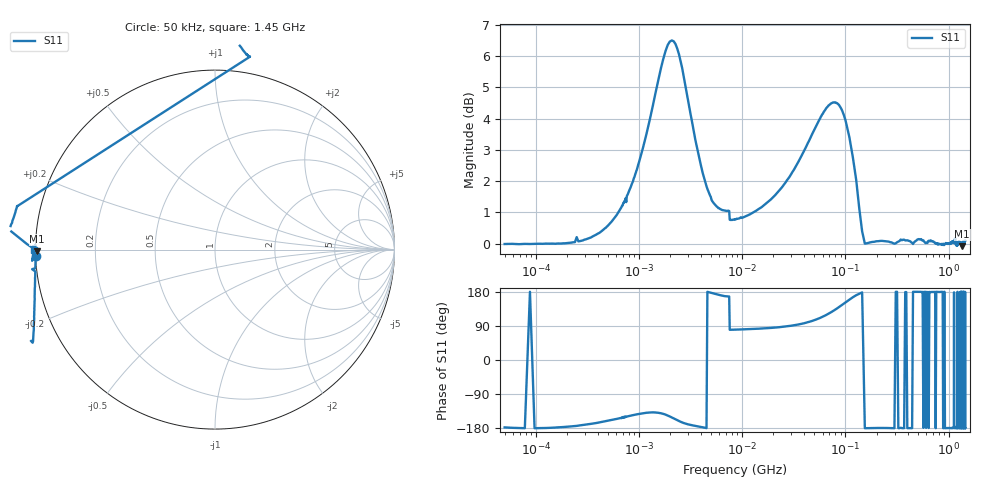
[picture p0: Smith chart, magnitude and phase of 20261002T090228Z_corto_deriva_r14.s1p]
! piloto_deriva / corto_deriva / r14
# HZ S RI R 50
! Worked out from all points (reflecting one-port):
!   501 points, 50 kHz to 1.45 GHz, reference 50 ohm
!   lowest |S11| = -0.1 dB at 1.351 GHz (marker M1), VSWR 223.86, Z = 0.223 - j0.24 ohm
!   phase of S11 starts at -178 deg and turns -2 deg over the sweep
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50000  -0.9984 -0.0369
183000  -1 -0.0519
373000  -1.004 -0.2337
658000  -1.014 -0.511
1180000  -1.134 -0.9759
1630000  -1.471 -1.211
1990000  -1.805 -1.082
2170000  -1.899 -0.9124
2440000  -1.903 -0.6455
3070000  -1.634 -0.2712
4330000  -1.264 -0.0301
7300000  -1.103 0.2428
7750000  0.1941 1.074
8560000  0.1863 1.078
1.9e7  0.1092 1.172
3.16e7  -0.0344 1.312
4.69e7  -0.3229 1.455
6.76e7  -0.86 1.418
8.02e7  -1.158 1.22
9.46e7  -1.362 0.8751
9.82e7  -1.385 0.7838
1e8  -1.393 0.7377
1.18e8  -1.331 0.3394
1.36e8  -1.135 0.1008
1.63e8  -1.002 -0.00315
4.06e8  -1.011 -0.00456
1.351e9  -0.9911 -0.00952
1.45e9  -1.011 -0.00288
